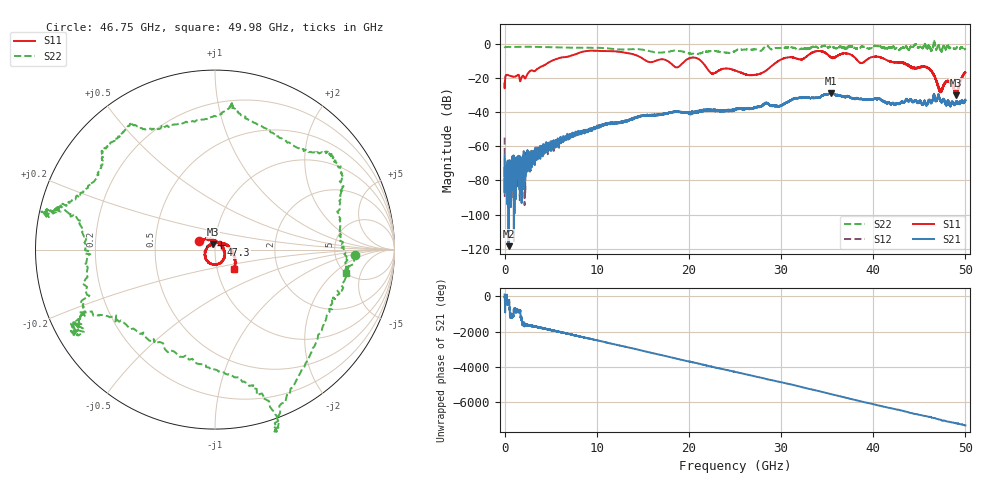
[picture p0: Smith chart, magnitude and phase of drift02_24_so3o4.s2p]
!Created with skrf (http://scikit-rf.org).
# Hz S RI R 50.0
!freq ReS11 ImS11 ReS21 ImS21 ReS12 ImS12 ReS22 ImS22
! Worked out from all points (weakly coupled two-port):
!   10001 points, 300 kHz to 50 GHz, reference 50 ohm
!   highest |S21| = -28.52 dB at 35.38 GHz (marker M1); lowest = -118.6 dB at 425.3 MHz (marker M2)
!   lowest |S11| = -29.9 dB at 49.02 GHz (marker M3), VSWR 1.07, Z = 48.9 + j2.95 ohm
!   |S11| at or under -10 dB: start of sweep to 4.957 GHz; 21.38 GHz to 29.63 GHz (8.256 GHz wide, 32.4 % of centre); 41.83 GHz to end of sweep (the widest 3 of 11)
!   |S22| runs from -5.7 to 2.4 dB; largest |S21 - S12| = 0.0036
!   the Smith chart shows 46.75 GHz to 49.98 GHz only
!   S11 on the Smith chart (normalised r, x): 46.75 GHz: 0.83, +0.08; 47.3 GHz: 1.07, +0.05; 49.98 GHz: 1.20, -0.27
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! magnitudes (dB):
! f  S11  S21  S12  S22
! 300 kHz  -22.6  -65.3  -54.8  -2.1
! 255.3 MHz  -17.9  -83.5  -84.8  -1.4
! 425.3 MHz  -18.1  -118.6  -75.8  -1.4
! 1.87 GHz  -19.1  -71.4  -71.5  -1.3
! 3.575 GHz  -14.3  -62.3  -66.9  -1.5
! 8.335 GHz  -4.5  -51.7  -51.5  -1.9
! 16.67 GHz  -9.1  -41.4  -41.4  -4.7
! 18.7 GHz  -13.5  -39.5  -39.5  -3.7
! 20.6 GHz  -7.7  -40.2  -40.0  -5.7
! 22.51 GHz  -17.1  -38.7  -38.7  -3.7
! 25 GHz  -15.3  -38.1  -38.2  -3.9
! 27.47 GHz  -17.6  -36.6  -36.8  -3.2
! 33.34 GHz  -4.9  -31.2  -31.2  -1.6
! 35.38 GHz  -7.4  -28.5  -28.8  -1.6
! 41.67 GHz  -9.7  -34.1  -34.2  -1.8
! 45.75 GHz  -13.4  -35.6  -35.3  -1.5
! 46.75 GHz  -20.0  -32.4  -32.9  -2.2
! 47.3 GHz  -27.7  -33.3  -33.4  -3.6
! 48.13 GHz  -21.6  -33.5  -33.4  -0.6
! 49.02 GHz  -29.9  -34.3  -33.7  -2.1
! 49.98 GHz  -16.5  -32.5  -33.0  -2.6
! 50 GHz  -16.4  -33.0  -32.4  -2.6
